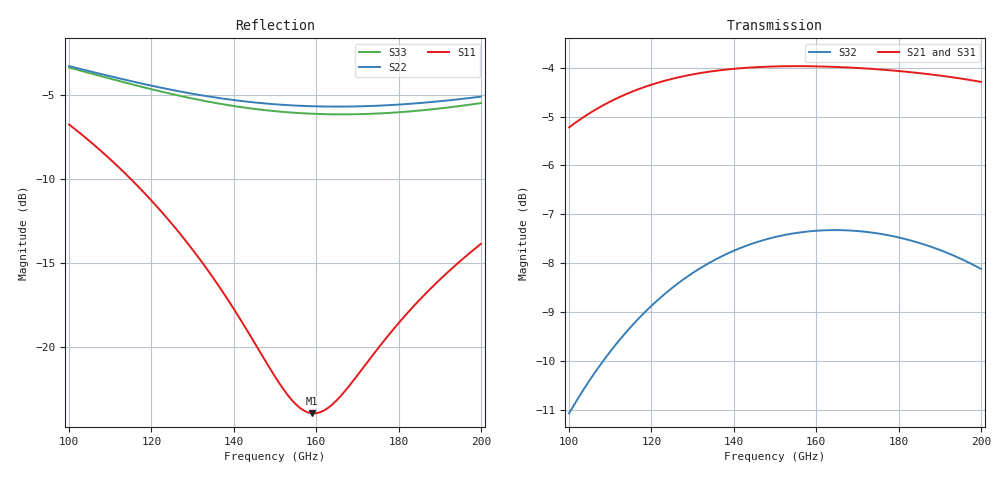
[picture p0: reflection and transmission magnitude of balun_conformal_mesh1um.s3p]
! Created with skrf 2.1.0 (http://scikit-rf.org).
# GHz S DB R 50.0
! Port[1] = P1
! Port[2] = P2
! Port[3] = P3
!freq dBS11 angS11 dBS12 angS12 dBS13 angS13
! dBS21 angS21 dBS22 angS22 dBS23 angS23
! dBS31 angS31 dBS32 angS32 dBS33 angS33
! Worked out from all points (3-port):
!   101 points, 100 GHz to 200 GHz, reference 50 ohm
!   strongest paths, dB at 100 GHz, 125 GHz, 150 GHz, 175 GHz, 200 GHz:
!     S21: -5.2, -4.2, -4.0, -4.0, -4.3
!     S31: -5.3, -4.3, -4.0, -4.1, -4.3
!     S32: -11.1, -8.5, -7.5, -7.4, -8.1
!   lowest |S11| = -24.0 dB at 159 GHz (marker M1), VSWR 1.14, Z = 56.7 - j0.659 ohm
!   |S11| at or under -10 dB: 115 GHz to end of sweep
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100  -6.76 137.6  -5.22 -1.5  -5.28 176.2
     -5.22 -1.5  -3.27 62.8  -11.08 95.5
     -5.28 176.2  -11.08 95.5  -3.36 54.8
112  -9.29 117.9  -4.61 -19.4  -4.66 157.6
     -4.61 -19.4  -3.99 51.3  -9.60 78.4
     -4.66 157.6  -9.60 78.4  -4.15 42.2
124  -12.40 98.6  -4.25 -36.2  -4.29 140.1
     -4.25 -36.2  -4.64 41.0  -8.58 62.3
     -4.29 140.1  -8.58 62.3  -4.88 31.1
137  -16.63 75.1  -4.05 -53.2  -4.08 122.3
     -4.05 -53.2  -5.19 31.0  -7.86 45.7
     -4.08 122.3  -7.86 45.7  -5.53 20.3
150  -21.79 38.5  -3.97 -69.3  -4.00 105.5
     -3.97 -69.3  -5.55 21.6  -7.47 30.0
     -4.00 105.5  -7.47 30.0  -5.96 10.5
155  -23.43 15.9  -3.97 -75.3  -4.00 99.3
     -3.97 -75.3  -5.62 18.1  -7.39 24.1
     -4.00 99.3  -7.39 24.1  -6.06 6.9
159  -23.98 -5.2  -3.97 -80.0  -4.00 94.4
     -3.97 -80.0  -5.66 15.3  -7.35 19.5
     -4.00 94.4  -7.35 19.5  -6.11 4.1
165  -23.20 -35.2  -3.98 -87.0  -4.01 87.1
     -3.98 -87.0  -5.68 11.1  -7.33 12.6
     -4.01 87.1  -7.33 12.6  -6.15 -0.2
179  -18.90 -76.1  -4.06 -103.1  -4.09 70.3
     -4.06 -103.1  -5.58 1.1  -7.46 -3.1
     -4.09 70.3  -7.46 -3.1  -6.04 -10.3
200  -13.87 -105.3  -4.29 -127.1  -4.31 45.2
     -4.29 -127.1  -5.09 -14.8  -8.12 -26.7
     -4.31 45.2  -8.12 -26.7  -5.48 -26.4
